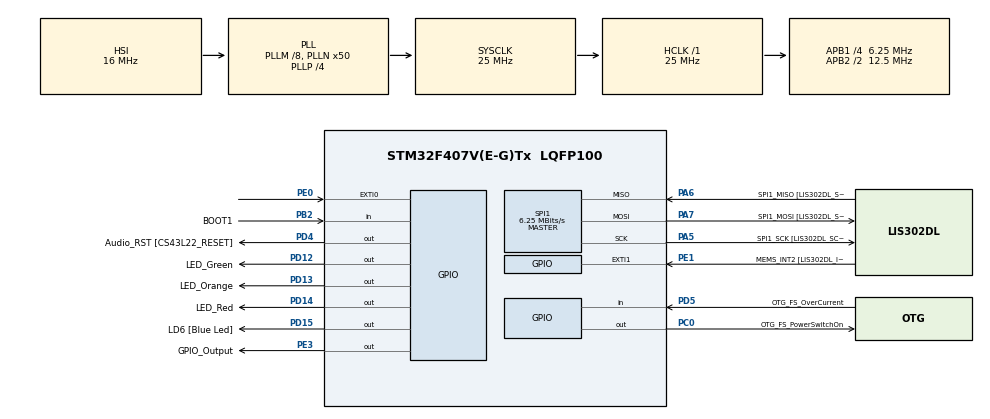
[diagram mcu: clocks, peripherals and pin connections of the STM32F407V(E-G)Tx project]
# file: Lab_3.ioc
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Mcu.Family=STM32F4
Mcu.Name=STM32F407V(E-G)Tx
Mcu.Package=LQFP100
NVIC.EXTI0_IRQn=true\:15\:0\:true\:false\:true\:true\:true\:true
NVIC.PriorityGroup=NVIC_PRIORITYGROUP_4
NVIC.TIM7_IRQn=true\:0\:0\:false\:false\:true\:false\:true\:true
NVIC.TimeBase=TIM7_IRQn
NVIC.TimeBaseIP=TIM7
PA10.GPIO_Label=OTG_FS_ID
PA10.GPIO_Mode=GPIO_MODE_AF_PP
PA10.GPIO_PuPd=GPIO_NOPULL
PA10.GPIO_Speed=GPIO_SPEED_FREQ_LOW
PA10.Signal=USB_OTG_FS_ID
PA11.GPIO_Label=OTG_FS_DM
PA11.GPIO_Mode=GPIO_MODE_AF_PP
PA11.GPIO_PuPd=GPIO_NOPULL
PA11.GPIO_Speed=GPIO_SPEED_FREQ_LOW
PA11.Signal=USB_OTG_FS_DM
PA12.GPIO_Label=OTG_FS_DP
PA12.GPIO_Mode=GPIO_MODE_AF_PP
PA12.GPIO_PuPd=GPIO_NOPULL
PA12.GPIO_Speed=GPIO_SPEED_FREQ_LOW
PA12.Signal=USB_OTG_FS_DP
PA13.GPIO_Label=SWDIO
PA13.Mode=Serial_Wire
PA13.Signal=SYS_JTMS-SWDIO
PA14.GPIO_Label=SWCLK
PA14.Mode=Serial_Wire
PA14.Signal=SYS_JTCK-SWCLK
PA4.GPIO_Label=I2S3_WS [CS43L22_LRCK]
PA4.GPIO_Mode=GPIO_MODE_AF_PP
PA4.GPIO_PuPd=GPIO_NOPULL
PA4.GPIO_Speed=GPIO_SPEED_FREQ_LOW
PA4.Signal=I2S3_WS
PA5.GPIO_Label=SPI1_SCK [LIS302DL_SCL/SPC]
PA5.GPIO_Mode=GPIO_MODE_AF_PP
PA5.GPIO_PuPd=GPIO_NOPULL
PA5.GPIO_Speed=GPIO_SPEED_FREQ_LOW
PA5.Mode=Full_Duplex_Master
PA5.Signal=SPI1_SCK
PA6.GPIO_Label=SPI1_MISO [LIS302DL_SDO]
PA6.GPIO_Mode=GPIO_MODE_AF_PP
PA6.GPIO_PuPd=GPIO_NOPULL
PA6.GPIO_Speed=GPIO_SPEED_FREQ_LOW
PA6.Mode=Full_Duplex_Master
PA6.Signal=SPI1_MISO
PA7.GPIO_Label=SPI1_MOSI [LIS302DL_SDA/SDI/SDO]
PA7.GPIO_Mode=GPIO_MODE_AF_PP
PA7.GPIO_PuPd=GPIO_NOPULL
PA7.GPIO_Speed=GPIO_SPEED_FREQ_LOW
PA7.Mode=Full_Duplex_Master
PA7.Signal=SPI1_MOSI
PA9.GPIO_Label=VBUS_FS
PA9.GPIO_Mode=GPIO_MODE_INPUT
PA9.GPIO_PuPd=GPIO_NOPULL
PA9.Signal=USB_OTG_FS_VBUS
PB10.GPIO_Label=CLK_IN [MP45DT02_CLK]
PB10.GPIO_Mode=GPIO_MODE_AF_PP
PB10.GPIO_PuPd=GPIO_NOPULL
PB10.GPIO_Speed=GPIO_SPEED_FREQ_LOW
PB10.Signal=I2S2_CK
PB2.GPIO_Label=BOOT1
PB2.GPIO_Mode=GPIO_MODE_INPUT
PB2.GPIO_PuPd=GPIO_NOPULL
PB2.Signal=GPIO_Input
PB3.GPIO_Label=SWO
PB3.Signal=SYS_JTDO-SWO
PB6.GPIO_Label=Audio_SCL [CS43L22_SCL]
PB6.GPIO_Mode=GPIO_MODE_AF_OD
PB6.GPIO_PuPd=GPIO_NOPULL
PB6.GPIO_Speed=GPIO_SPEED_FREQ_LOW
PB6.Signal=I2C1_SCL
PB9.GPIO_Label=Audio_SDA [CS43L22_SDA]
PB9.GPIO_Mode=GPIO_MODE_AF_OD
PB9.GPIO_PuPd=GPIO_NOPULL
PB9.GPIO_Speed=GPIO_SPEED_FREQ_LOW
PB9.Signal=I2C1_SDA
PC0.GPIO_Label=OTG_FS_PowerSwitchOn
PC0.GPIO_PuPd=GPIO_NOPULL
PC0.GPIO_Speed=GPIO_SPEED_FREQ_LOW
PC0.PinState=GPIO_PIN_SET
PC0.Signal=GPIO_Output
PC10.GPIO_Label=I2S3_SCK [CS43L22_SCLK]
PC10.GPIO_Mode=GPIO_MODE_AF_PP
PC10.GPIO_PuPd=GPIO_NOPULL
PC10.GPIO_Speed=GPIO_SPEED_FREQ_LOW
PC10.Signal=I2S3_CK
PC12.GPIO_Label=I2S3_SD [CS43L22_SDIN]
PC12.GPIO_Mode=GPIO_MODE_AF_PP
PC12.GPIO_PuPd=GPIO_NOPULL
PC12.GPIO_Speed=GPIO_SPEED_FREQ_LOW
PC12.Signal=I2S3_SD
PC14-OSC32_IN.GPIO_Label=PC14-OSC32_IN
PC14-OSC32_IN.Signal=RCC_OSC32_IN
PC15-OSC32_OUT.GPIO_Label=PC15-OSC32_OUT
PC15-OSC32_OUT.Signal=RCC_OSC32_OUT
PC3.GPIO_Label=PDM_OUT [MP45DT02_DOUT]
PC3.GPIO_Mode=GPIO_MODE_AF_PP
PC3.GPIO_PuPd=GPIO_NOPULL
PC3.GPIO_Speed=GPIO_SPEED_FREQ_LOW
PC3.Signal=I2S2_SD
PC7.GPIO_Label=I2S3_MCK [CS43L22_MCLK]
PC7.GPIO_Mode=GPIO_MODE_AF_PP
PC7.GPIO_PuPd=GPIO_NOPULL
PC7.GPIO_Speed=GPIO_SPEED_FREQ_LOW
PC7.Signal=I2S3_MCK
PD12.GPIO_Label=LED_Green
PD12.GPIO_PuPd=GPIO_NOPULL
PD12.GPIO_Speed=GPIO_SPEED_FREQ_LOW
PD12.Signal=GPIO_Output
PD13.GPIO_Label=LED_Orange
PD13.GPIO_PuPd=GPIO_NOPULL
PD13.GPIO_Speed=GPIO_SPEED_FREQ_LOW
PD13.Signal=GPIO_Output
PD14.GPIO_Label=LED_Red
PD14.GPIO_PuPd=GPIO_NOPULL
PD14.GPIO_Speed=GPIO_SPEED_FREQ_LOW
PD14.Signal=GPIO_Output
PD15.GPIO_Label=LD6 [Blue Led]
PD15.GPIO_PuPd=GPIO_NOPULL
PD15.GPIO_Speed=GPIO_SPEED_FREQ_LOW
PD15.Signal=GPIO_Output
PD4.GPIO_Label=Audio_RST [CS43L22_RESET]
PD4.GPIO_PuPd=GPIO_NOPULL
PD4.GPIO_Speed=GPIO_SPEED_FREQ_LOW
PD4.Signal=GPIO_Output
PD5.GPIO_Label=OTG_FS_OverCurrent
PD5.GPIO_Mode=GPIO_MODE_INPUT
PD5.GPIO_PuPd=GPIO_NOPULL
PD5.Signal=GPIO_Input
PE0.Signal=GPXTI0
PE1.GPIO_Label=MEMS_INT2 [LIS302DL_INT2]
PE1.GPIO_ModeDefaultEXTI=GPIO_MODE_EVT_RISING
PE1.GPIO_PuPd=GPIO_NOPULL
PE1.Signal=GPXTI1
PE3.GPIO_Label=GPIO_Output
PE3.GPIO_PuPd=GPIO_NOPULL
PE3.GPIO_Speed=GPIO_SPEED_FREQ_LOW
PE3.Signal=GPIO_Output
PH0-OSC_IN.GPIO_Label=PH0-OSC_IN
PH0-OSC_IN.Signal=RCC_OSC_IN
PH1-OSC_OUT.GPIO_Label=PH1-OSC_OUT
PH1-OSC_OUT.Signal=RCC_OSC_OUT
ProjectManager.HeapSize=0x200
ProjectManager.StackSize=0x400
ProjectManager.TargetToolchain=STM32CubeIDE
RCC.48MHZClocksFreq_Value=14285714.285714285
RCC.AHBFreq_Value=25000000
RCC.APB1CLKDivider=RCC_HCLK_DIV4
RCC.APB1Freq_Value=6250000
RCC.APB1TimFreq_Value=12500000
RCC.APB2CLKDivider=RCC_HCLK_DIV2
RCC.APB2Freq_Value=12500000
RCC.APB2TimFreq_Value=25000000
RCC.CortexFreq_Value=25000000
RCC.HCLKFreq_Value=25000000
RCC.HSE_VALUE=8000000
RCC.HSI_VALUE=16000000
RCC.LSE_VALUE=32768
RCC.PLLM=8
RCC.PLLN=50
RCC.PLLP=RCC_PLLP_DIV4
RCC.PLLQ=7
RCC.SYSCLKFreq_VALUE=25000000
RCC.SYSCLKSource=RCC_SYSCLKSOURCE_PLLCLK
RCC.VCOOutputFreq_Value=100000000
SPI1.CalculateBaudRate=6.25 MBits/s
SPI1.Direction=SPI_DIRECTION_2LINES
SPI1.Mode=SPI_MODE_MASTER
SPI1.VirtualType=VM_MASTER
VP_SYS_VS_tim7.Mode=TIM7
board=STM32F407G-DISC1

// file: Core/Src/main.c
/* USER CODE BEGIN Header */
/**
  ******************************************************************************
  * @file           : main.c
  * @brief          : Main program body
  ******************************************************************************
  * @attention
  *
  * Copyright (c) 2026 STMicroelectronics.
  * All rights reserved.
  *
  * This software is licensed under terms that can be found in the LICENSE file
  * in the root directory of this software component.
  * If no LICENSE file comes with this software, it is provided AS-IS.
  *
  ******************************************************************************
  */
/* USER CODE END Header */
#include "main.h"

/* USER CODE BEGIN Includes */
#include "FreeRTOS.h"
#include "task.h"
#include "semphr.h"

/* USER CODE END Includes */

/* USER CODE BEGIN PM */
#define LIS3DSH_WHO_AM_I_ADDR                0x0F
#define LIS3DSH_STAT_ADDR                    0x18
#define LIS3DSH_CTRL_REG4_ADDR               0x20
#define LIS3DSH_CTRL_REG1_ADDR               0x21
#define LIS3DSH_CTRL_REG2_ADDR               0x22
#define LIS3DSH_CTRL_REG3_ADDR               0x23
#define LIS3DSH_CTRL_REG5_ADDR               0x24
#define LIS3DSH_CTRL_REG6_ADDR               0x25

#define LIS3DSH_STATUS_ADDR                  0x27

#define LIS3DSH_OUT_X_L_ADDR                 0x28
#define LIS3DSH_OUT_X_H_ADDR                 0x29
#define LIS3DSH_OUT_Y_L_ADDR                 0x2A
#define LIS3DSH_OUT_Y_H_ADDR                 0x2B
#define LIS3DSH_OUT_Z_L_ADDR                 0x2C
#define LIS3DSH_OUT_Z_H_ADDR                 0x2D

#define LIS3DSH_ST1_1_ADDR                   0x40
#define LIS3DSH_ST1_2_ADDR                   0x41
#define LIS3DSH_THRS1_1_ADDR                 0x57
#define LIS3DSH_MASK1_B_ADDR                 0x59
#define LIS3DSH_MASK1_A_ADDR                 0x5A
#define LIS3DSH_SETT1_ADDR                   0x5B
#define LIS3DSH_OUTS1_ADDR                   0x5F

#define MONITOR_SENSOR_WAKEUP                MEMS_Write(0x21, 0x01); \
											 MEMS_Write(0x23, 0x48); \
											 MEMS_Write(0x20, 0x67); \
											 MEMS_Write(0x24, 0x00); \
											 MEMS_Write(0x59, 0xFC); \
											 MEMS_Write(0x5A, 0xFC); \
											 MEMS_Write(0x5B, 0x01); \
											 MEMS_Write(0x57, 0x55); \
											 MEMS_Write(0x40, 0x05); \
											 MEMS_Write(0x41, 0x11); \

/* USER CODE END PM */

SPI_HandleTypeDef hspi1;

/* USER CODE BEGIN PV */
uint8_t data;
SemaphoreHandle_t xSemaphore = NULL;
SemaphoreHandle_t xGreenPermit = NULL; // for green LED permission
/* USER CODE END PV */

void SystemClock_Config(void);
static void MX_GPIO_Init(void);
static void MX_SPI1_Init(void);

/* USER CODE BEGIN 0 */
void MEMS_Write(uint8_t address,uint8_t data){
	HAL_GPIO_WritePin(GPIOE, GPIO_PIN_3, GPIO_PIN_RESET);
	HAL_SPI_Transmit(&hspi1,&address,1,10);
	HAL_SPI_Transmit(&hspi1,&data,1,10);
	HAL_GPIO_WritePin(GPIOE, GPIO_PIN_3,GPIO_PIN_SET);
}
void MEMS_Read(uint8_t address,uint8_t *data){
    address |= 0x80;
	HAL_GPIO_WritePin(GPIOE,GPIO_PIN_3,GPIO_PIN_RESET);
	HAL_SPI_Transmit(&hspi1,&address,1,10);
	HAL_SPI_Receive(&hspi1,data,1,10);
	HAL_GPIO_WritePin(GPIOE,GPIO_PIN_3,GPIO_PIN_SET);
}
void Green_LED_Task(void *pvParameters){
	for(;;){
		// Green light blinking
		xSemaphoreTake(xGreenPermit, 0xFFFF);
		HAL_GPIO_TogglePin(LED_Green_GPIO_Port, LED_Green_Pin);
		xSemaphoreGive(xGreenPermit);
		vTaskDelay(pdMS_TO_TICKS(1000));
	}
}
void vHandlerTask( void *pvParameters ){

	for(;;){
		/* Take the semaphore */
		if (xSemaphoreTake(xSemaphore, 0xFFFF) == pdTRUE) {
			// Take the semaphore of Green LED blinking permission
			xSemaphoreTake(xGreenPermit, 0xFFFF);

			// semaphore was obtained
			// Orange LED blink 5 times
			for (int i = 0; i < 10; i++) {
				HAL_GPIO_TogglePin(LED_Orange_GPIO_Port, LED_Orange_Pin);
				vTaskDelay(pdMS_TO_TICKS(250));
			}

			// Give it back to Green LED
			xSemaphoreGive(xGreenPermit);
		}

	    // reset interrupt register
		MONITOR_SENSOR_WAKEUP

	}
}
void HAL_GPIO_EXTI_Callback(uint16_t GPIO_Pin)
{
	/* Red LED toggle */
	HAL_GPIO_TogglePin(LED_Red_GPIO_Port, LED_Red_Pin);

	/* Give the semaphore to unblock the handler task */
	BaseType_t xHigherPriorityTaskWoken = pdFALSE;
	xSemaphoreGiveFromISR(xSemaphore, &xHigherPriorityTaskWoken);
	portYIELD_FROM_ISR(xHigherPriorityTaskWoken);
}
/* USER CODE END 0 */

int main(void)
{

  /* MCU Configuration--------------------------------------------------------*/

  /* Reset of all peripherals, Initializes the Flash interface and the Systick. */
  HAL_Init();

  /* Configure the system clock */
  SystemClock_Config();

  /* Initialize all configured peripherals */
  MX_GPIO_Init();
  MX_SPI1_Init();
  /* USER CODE BEGIN 2 */
  // Write in register //
  MONITOR_SENSOR_WAKEUP
  // Create the semaphore //
  xSemaphore = xSemaphoreCreateBinary();
  xGreenPermit = xSemaphoreCreateBinary();
  // Let the Green LED blink first
  xSemaphoreGive(xGreenPermit);

  //task create
  xTaskCreate(Green_LED_Task, "Green LED", 128, NULL, 1, NULL);
  xTaskCreate(vHandlerTask, "Task Handler", 128, NULL, 2, NULL);
  vTaskStartScheduler();

  /* USER CODE END 2 */

  /* Infinite loop */
  while (1)
  {

  }
}

void SystemClock_Config(void)
{
  RCC_OscInitTypeDef RCC_OscInitStruct = {0};
  RCC_ClkInitTypeDef RCC_ClkInitStruct = {0};

  /** Configure the main internal regulator output voltage
  */
  __HAL_RCC_PWR_CLK_ENABLE();
  __HAL_PWR_VOLTAGESCALING_CONFIG(PWR_REGULATOR_VOLTAGE_SCALE1);

  /** Initializes the RCC Oscillators according to the specified parameters
  * in the RCC_OscInitTypeDef structure.
  */
  RCC_OscInitStruct.OscillatorType = RCC_OSCILLATORTYPE_HSI;
  RCC_OscInitStruct.HSIState = RCC_HSI_ON;
  RCC_OscInitStruct.HSICalibrationValue = RCC_HSICALIBRATION_DEFAULT;
  RCC_OscInitStruct.PLL.PLLState = RCC_PLL_ON;
  RCC_OscInitStruct.PLL.PLLSource = RCC_PLLSOURCE_HSI;
  RCC_OscInitStruct.PLL.PLLM = 8;
  RCC_OscInitStruct.PLL.PLLN = 50;
  RCC_OscInitStruct.PLL.PLLP = RCC_PLLP_DIV4;
  RCC_OscInitStruct.PLL.PLLQ = 7;
  if (HAL_RCC_OscConfig(&RCC_OscInitStruct) != HAL_OK)
  {
    Error_Handler();
  }

  /** Initializes the CPU, AHB and APB buses clocks
  */
  RCC_ClkInitStruct.ClockType = RCC_CLOCKTYPE_HCLK|RCC_CLOCKTYPE_SYSCLK
                              |RCC_CLOCKTYPE_PCLK1|RCC_CLOCKTYPE_PCLK2;
  RCC_ClkInitStruct.SYSCLKSource = RCC_SYSCLKSOURCE_PLLCLK;
  RCC_ClkInitStruct.AHBCLKDivider = RCC_SYSCLK_DIV1;
  RCC_ClkInitStruct.APB1CLKDivider = RCC_HCLK_DIV4;
  RCC_ClkInitStruct.APB2CLKDivider = RCC_HCLK_DIV2;

  if (HAL_RCC_ClockConfig(&RCC_ClkInitStruct, FLASH_LATENCY_0) != HAL_OK)
  {
    Error_Handler();
  }
}

static void MX_SPI1_Init(void)
{

  /* SPI1 parameter configuration*/
  hspi1.Instance = SPI1;
  hspi1.Init.Mode = SPI_MODE_MASTER;
  hspi1.Init.Direction = SPI_DIRECTION_2LINES;
  hspi1.Init.DataSize = SPI_DATASIZE_8BIT;
  hspi1.Init.CLKPolarity = SPI_POLARITY_LOW;
  hspi1.Init.CLKPhase = SPI_PHASE_1EDGE;
  hspi1.Init.NSS = SPI_NSS_SOFT;
  hspi1.Init.BaudRatePrescaler = SPI_BAUDRATEPRESCALER_2;
  hspi1.Init.FirstBit = SPI_FIRSTBIT_MSB;
  hspi1.Init.TIMode = SPI_TIMODE_DISABLE;
  hspi1.Init.CRCCalculation = SPI_CRCCALCULATION_DISABLE;
  hspi1.Init.CRCPolynomial = 10;
  if (HAL_SPI_Init(&hspi1) != HAL_OK)
  {
    Error_Handler();
  }

}

static void MX_GPIO_Init(void)
{
  GPIO_InitTypeDef GPIO_InitStruct = {0};

  /* GPIO Ports Clock Enable */
  __HAL_RCC_GPIOE_CLK_ENABLE();
  __HAL_RCC_GPIOC_CLK_ENABLE();
  __HAL_RCC_GPIOH_CLK_ENABLE();
  __HAL_RCC_GPIOA_CLK_ENABLE();
  __HAL_RCC_GPIOB_CLK_ENABLE();
  __HAL_RCC_GPIOD_CLK_ENABLE();

  /*Configure GPIO pin Output Level */
  HAL_GPIO_WritePin(GPIO_Output_GPIO_Port, GPIO_Output_Pin, GPIO_PIN_RESET);

  /*Configure GPIO pin Output Level */
  HAL_GPIO_WritePin(OTG_FS_PowerSwitchOn_GPIO_Port, OTG_FS_PowerSwitchOn_Pin, GPIO_PIN_SET);

  /*Configure GPIO pin Output Level */
  HAL_GPIO_WritePin(GPIOD, LED_Green_Pin|LED_Orange_Pin|LED_Red_Pin|LD6_Pin
                          |Audio_RST_Pin, GPIO_PIN_RESET);

  /*Configure GPIO pin : GPIO_Output_Pin */
  GPIO_InitStruct.Pin = GPIO_Output_Pin;
  GPIO_InitStruct.Mode = GPIO_MODE_OUTPUT_PP;
  GPIO_InitStruct.Pull = GPIO_NOPULL;
  GPIO_InitStruct.Speed = GPIO_SPEED_FREQ_LOW;
  HAL_GPIO_Init(GPIO_Output_GPIO_Port, &GPIO_InitStruct);

  /*Configure GPIO pin : OTG_FS_PowerSwitchOn_Pin */
  GPIO_InitStruct.Pin = OTG_FS_PowerSwitchOn_Pin;
  GPIO_InitStruct.Mode = GPIO_MODE_OUTPUT_PP;
  GPIO_InitStruct.Pull = GPIO_NOPULL;
  GPIO_InitStruct.Speed = GPIO_SPEED_FREQ_LOW;
  HAL_GPIO_Init(OTG_FS_PowerSwitchOn_GPIO_Port, &GPIO_InitStruct);

  /*Configure GPIO pin : PDM_OUT_Pin */
  GPIO_InitStruct.Pin = PDM_OUT_Pin;
  GPIO_InitStruct.Mode = GPIO_MODE_AF_PP;
  GPIO_InitStruct.Pull = GPIO_NOPULL;
  GPIO_InitStruct.Speed = GPIO_SPEED_FREQ_LOW;
  GPIO_InitStruct.Alternate = GPIO_AF5_SPI2;
  HAL_GPIO_Init(PDM_OUT_GPIO_Port, &GPIO_InitStruct);

  /*Configure GPIO pin : I2S3_WS_Pin */
  GPIO_InitStruct.Pin = I2S3_WS_Pin;
  GPIO_InitStruct.Mode = GPIO_MODE_AF_PP;
  GPIO_InitStruct.Pull = GPIO_NOPULL;
  GPIO_InitStruct.Speed = GPIO_SPEED_FREQ_LOW;
  GPIO_InitStruct.Alternate = GPIO_AF6_SPI3;
  HAL_GPIO_Init(I2S3_WS_GPIO_Port, &GPIO_InitStruct);

  /*Configure GPIO pin : BOOT1_Pin */
  GPIO_InitStruct.Pin = BOOT1_Pin;
  GPIO_InitStruct.Mode = GPIO_MODE_INPUT;
  GPIO_InitStruct.Pull = GPIO_NOPULL;
  HAL_GPIO_Init(BOOT1_GPIO_Port, &GPIO_InitStruct);

  /*Configure GPIO pin : CLK_IN_Pin */
  GPIO_InitStruct.Pin = CLK_IN_Pin;
  GPIO_InitStruct.Mode = GPIO_MODE_AF_PP;
  GPIO_InitStruct.Pull = GPIO_NOPULL;
  GPIO_InitStruct.Speed = GPIO_SPEED_FREQ_LOW;
  GPIO_InitStruct.Alternate = GPIO_AF5_SPI2;
  HAL_GPIO_Init(CLK_IN_GPIO_Port, &GPIO_InitStruct);

  /*Configure GPIO pins : LED_Green_Pin LED_Orange_Pin LED_Red_Pin LD6_Pin
                           Audio_RST_Pin */
  GPIO_InitStruct.Pin = LED_Green_Pin|LED_Orange_Pin|LED_Red_Pin|LD6_Pin
                          |Audio_RST_Pin;
  GPIO_InitStruct.Mode = GPIO_MODE_OUTPUT_PP;
  GPIO_InitStruct.Pull = GPIO_NOPULL;
  GPIO_InitStruct.Speed = GPIO_SPEED_FREQ_LOW;
  HAL_GPIO_Init(GPIOD, &GPIO_InitStruct);

  /*Configure GPIO pins : I2S3_MCK_Pin I2S3_SCK_Pin I2S3_SD_Pin */
  GPIO_InitStruct.Pin = I2S3_MCK_Pin|I2S3_SCK_Pin|I2S3_SD_Pin;
  GPIO_InitStruct.Mode = GPIO_MODE_AF_PP;
  GPIO_InitStruct.Pull = GPIO_NOPULL;
  GPIO_InitStruct.Speed = GPIO_SPEED_FREQ_LOW;
  GPIO_InitStruct.Alternate = GPIO_AF6_SPI3;
  HAL_GPIO_Init(GPIOC, &GPIO_InitStruct);

  /*Configure GPIO pin : VBUS_FS_Pin */
  GPIO_InitStruct.Pin = VBUS_FS_Pin;
  GPIO_InitStruct.Mode = GPIO_MODE_INPUT;
  GPIO_InitStruct.Pull = GPIO_NOPULL;
  HAL_GPIO_Init(VBUS_FS_GPIO_Port, &GPIO_InitStruct);

  /*Configure GPIO pins : OTG_FS_ID_Pin OTG_FS_DM_Pin OTG_FS_DP_Pin */
  GPIO_InitStruct.Pin = OTG_FS_ID_Pin|OTG_FS_DM_Pin|OTG_FS_DP_Pin;
  GPIO_InitStruct.Mode = GPIO_MODE_AF_PP;
  GPIO_InitStruct.Pull = GPIO_NOPULL;
  GPIO_InitStruct.Speed = GPIO_SPEED_FREQ_LOW;
  GPIO_InitStruct.Alternate = GPIO_AF10_OTG_FS;
  HAL_GPIO_Init(GPIOA, &GPIO_InitStruct);

  /*Configure GPIO pin : OTG_FS_OverCurrent_Pin */
  GPIO_InitStruct.Pin = OTG_FS_OverCurrent_Pin;
  GPIO_InitStruct.Mode = GPIO_MODE_INPUT;
  GPIO_InitStruct.Pull = GPIO_NOPULL;
  HAL_GPIO_Init(OTG_FS_OverCurrent_GPIO_Port, &GPIO_InitStruct);

  /*Configure GPIO pins : Audio_SCL_Pin Audio_SDA_Pin */
  GPIO_InitStruct.Pin = Audio_SCL_Pin|Audio_SDA_Pin;
  GPIO_InitStruct.Mode = GPIO_MODE_AF_OD;
  GPIO_InitStruct.Pull = GPIO_NOPULL;
  GPIO_InitStruct.Speed = GPIO_SPEED_FREQ_LOW;
  GPIO_InitStruct.Alternate = GPIO_AF4_I2C1;
  HAL_GPIO_Init(GPIOB, &GPIO_InitStruct);

  /*Configure GPIO pin : PE0 */
  GPIO_InitStruct.Pin = GPIO_PIN_0;
  GPIO_InitStruct.Mode = GPIO_MODE_IT_RISING;
  GPIO_InitStruct.Pull = GPIO_NOPULL;
  HAL_GPIO_Init(GPIOE, &GPIO_InitStruct);

  /*Configure GPIO pin : MEMS_INT2_Pin */
  GPIO_InitStruct.Pin = MEMS_INT2_Pin;
  GPIO_InitStruct.Mode = GPIO_MODE_EVT_RISING;
  GPIO_InitStruct.Pull = GPIO_NOPULL;
  HAL_GPIO_Init(MEMS_INT2_GPIO_Port, &GPIO_InitStruct);

  /* EXTI interrupt init*/
  HAL_NVIC_SetPriority(EXTI0_IRQn, 15, 0);
  HAL_NVIC_EnableIRQ(EXTI0_IRQn);

}

void HAL_TIM_PeriodElapsedCallback(TIM_HandleTypeDef *htim)
{
  if (htim->Instance == TIM7) {
    HAL_IncTick();
  }
}

void Error_Handler(void)
{
  __disable_irq();
  while (1)
  {
  }
}
